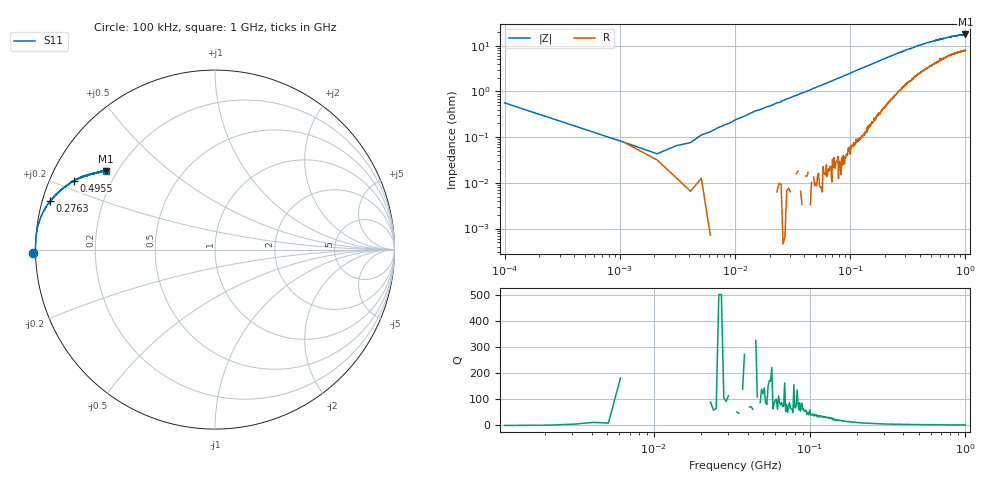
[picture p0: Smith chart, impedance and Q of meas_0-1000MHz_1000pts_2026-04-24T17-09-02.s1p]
! Touchstone file generated by RF Tool Suite
# Hz S RI R 50
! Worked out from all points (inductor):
!   1000 points, 100 kHz to 1 GHz, reference 50 ohm
!   read as one part to ground: L = 3.59 nH near 5.105 MHz
!   highest |Z| = 17.6 ohm at 999 MHz (marker M1)
!   S11 on the Smith chart (normalised r, x): 100 kHz: -0.01, -0.01; 276.3 MHz: 0.02, +0.14; 495.5 MHz: 0.07, +0.23; 1 GHz: 0.16, +0.31
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100000  -1.016 -0.0163
6105405  -1 0.00523
8.417568e7  -0.9955 0.0831
1.252126e8  -0.988 0.1273
1.832649e8  -0.9684 0.1863
2.503252e8  -0.9339 0.2502
2.763486e8  -0.9178 0.2715
3.213892e8  -0.8885 0.3038
3.394054e8  -0.8809 0.3117
3.564207e8  -0.8672 0.3241
3.754378e8  -0.8544 0.3349
4.394955e8  -0.8153 0.3647
4.955459e8  -0.7858 0.3844
5.005504e8  -0.7814 0.3868
5.85627e8  -0.7378 0.4058
5.976378e8  -0.7313 0.4084
5.986387e8  -0.7284 0.4091
6.036432e8  -0.7088 0.4133
6.256631e8  -0.7174 0.4136
6.897207e8  -0.6894 0.4196
7.007306e8  -0.6836 0.4214
7.507757e8  -0.6631 0.4274
7.778e8  -0.658 0.4287
8.208387e8  -0.6414 0.4339
8.758883e8  -0.633 0.4339
9.319387e8  -0.6197 0.4369
9.989991e8  -0.6073 0.4367
1e9  -0.6073 0.4361
